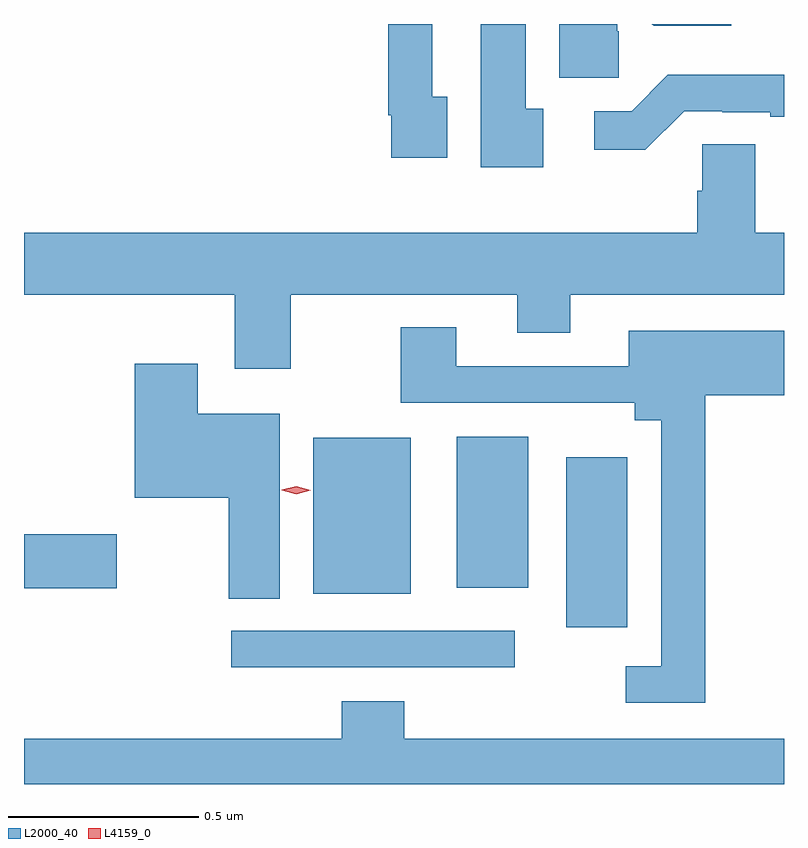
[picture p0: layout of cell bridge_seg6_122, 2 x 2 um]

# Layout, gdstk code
import gdstk
lib = gdstk.Library(unit=1e-6, precision=1e-09)
def R(c, l, rs):  # rectangles x0, y0, x1, y1
    for r in rs: c.add(gdstk.rectangle(r[:2], r[2:], *l))
def P(c, l, *ps):  # polygons
    for p in ps: c.add(gdstk.Polygon(p, *l))
L2000_40 = (2000, 40)
L4159_0 = (4159, 0)

bridge_seg6_122 = lib.new_cell('bridge_seg6_122')
R(bridge_seg6_122, L2000_40, [(378.711,939.696,379.456,939.792), (379.592,939.801,379.753,940.249), (378.926,939.89,379.183,940.3), (378.165,939.904,378.409,940.046), (379.304,939.905,379.492,940.303)])
P(bridge_seg6_122, L2000_40, [(379.279,941.198),(379.239,941.198),(379.239,941.389),(379.123,941.389),(379.123,941.149),(379.131,941.149),(379.131,941.037),(379.279,941.037)],
  [(379.531,941.166),(379.486,941.166),(379.486,941.389),(379.367,941.389),(379.367,941.012),(379.531,941.012)],
  [(379.73,941.37),(379.726,941.37),(379.726,941.389),(379.574,941.389),(379.574,941.247),(379.73,941.247)],
  [(380.026,941.389),(379.817,941.389),(379.822,941.384),(380.026,941.384)],
  [(379.902,941.16),(380.002,941.16),(380.002,941.157),(380.129,941.157),(380.129,941.145),(380.165,941.145),(380.165,941.255),(379.859,941.255),(379.764,941.16),(379.665,941.16),(379.665,941.058),(379.8,941.058)],
  [(378.867,940.676),(379.463,940.676),(379.463,940.577),(379.603,940.577),(379.603,940.676),(380.165,940.676),(380.165,940.84),(380.089,940.84),(380.089,941.072),(379.95,941.072),(379.95,940.95),(379.937,940.95),(379.937,940.84),(378.165,940.84),(378.165,940.676),(378.719,940.676),(378.719,940.482),(378.867,940.482)],
  [(379.958,940.412),(380.165,940.412),(380.165,940.582),(379.757,940.582),(379.757,940.488),(379.303,940.488),(379.303,940.591),(379.156,940.591),(379.156,940.392),(379.772,940.392),(379.772,940.346),(379.842,940.346),(379.842,939.699),(379.749,939.699),(379.749,939.603),(379.958,939.603)],
  [(378.838,940.363),(378.622,940.363),(378.622,940.495),(378.457,940.495),(378.457,940.142),(378.704,940.142),(378.704,939.877),(378.838,939.877)],
  [(380.165,939.508),(379.166,939.508),(379.166,939.607),(379.001,939.607),(379.001,939.508),(378.165,939.508),(378.165,939.389),(380.165,939.389)])
P(bridge_seg6_122, L4159_0, [(378.881,940.152),(378.843,940.162),(378.843,940.163),(378.843,940.163),(378.881,940.172),(378.919,940.162),(378.919,940.162),(378.919,940.162)])

lib.write_gds('bridge_seg6_122.gds')
